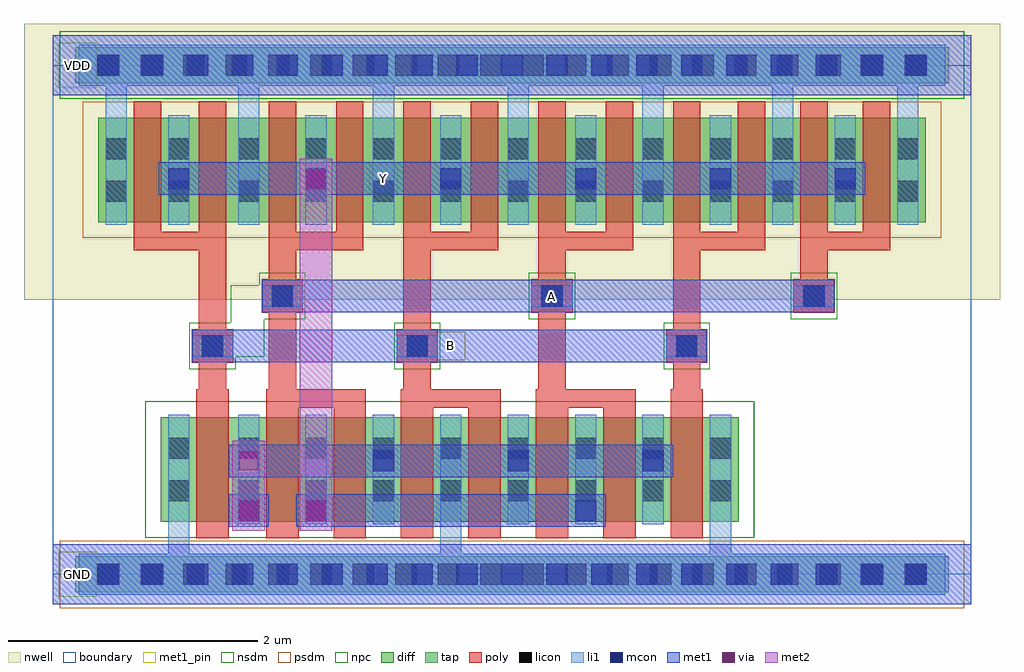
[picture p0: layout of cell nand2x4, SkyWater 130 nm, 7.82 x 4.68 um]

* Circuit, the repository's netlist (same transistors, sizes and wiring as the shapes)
** sch_path: /foss/designs/nand2x4.sch
.subckt nand2x4 A B VDD GND Y
*.PININFO A:I B:I VDD:B GND:B Y:O
XM2 Y A net1 GND sky130_fd_pr__nfet_01v8 L=0.26 W=3.36 nf=4
XM3 Y A VDD VDD sky130_fd_pr__pfet_01v8 L=0.22 W=5.04 nf=6
XM4 Y B VDD VDD sky130_fd_pr__pfet_01v8 L=0.22 W=5.04 nf=6
XM1 net1 B GND GND sky130_fd_pr__nfet_01v8 L=0.26 W=3.36 nf=4
.ends

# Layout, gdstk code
import gdstk
lib = gdstk.Library(unit=1e-6, precision=1e-09)
def R(c, l, rs):  # rectangles x0, y0, x1, y1
    for r in rs: c.add(gdstk.rectangle(r[:2], r[2:], *l))
def A(c, l, x, y, w, h, nx, ny, dx, dy):  # array of equal rectangles
    R(c, l, [(x+i*dx, y+j*dy, x+i*dx+w, y+j*dy+h) for i in range(nx) for j in range(ny)])
nwell = (64, 20)
diff = (65, 20)
tap = (65, 44)
poly = (66, 20)
licon = (66, 44)
li1 = (67, 20)
mcon = (67, 44)
met1_pin = (68, 16)
met1 = (68, 20)
via = (68, 44)
met2 = (69, 20)
nsdm = (93, 44)
psdm = (94, 20)
npc = (95, 20)
boundary = (235, 4)

nand2x4 = lib.new_cell('nand2x4')
R(nand2x4, nwell, [(-0.23,2.2,7.59,4.41)])
R(nand2x4, diff, [(0.865,0.42,5.495,1.26), (0.365,2.82,6.995,3.66)])
R(nand2x4, tap, [(0.18,-0.145,7.18,0.145), (0.18,3.935,7.18,4.225)])
A(nand2x4, poly, 1.71, 0.29, 0.26, 1.045, 6, 1, 0.54, 0)
A(nand2x4, poly, 1.71, 1.335, 0.8, 0.15, 3, 1, 1.08, 0)
A(nand2x4, poly, 1.73, 2.595, 0.76, 0.15, 3, 1, 1.08, 0)
A(nand2x4, poly, 1.73, 2.745, 0.22, 1.045, 7, 1, 0.54, 0)
A(nand2x4, poly, 5.49, 2.745, 0.22, 1.045, 3, 1, 0.5, 0)
R(nand2x4, poly, [(1.15,0.29,1.41,1.485), (4.95,0.29,5.21,1.485), (1.17,1.485,1.39,1.695), (1.73,1.485,1.95,2.095), (2.81,1.485,3.03,1.695), (3.89,1.485,4.11,2.095), (4.97,1.485,5.19,1.695), (1.115,1.695,1.445,1.965), (2.755,1.695,3.085,1.965), (4.915,1.695,5.245,1.965), (1.17,1.965,1.39,2.595), (2.81,1.965,3.03,2.595), (4.97,1.965,5.19,2.595), (1.675,2.095,2.005,2.365), (3.835,2.095,4.165,2.365), (5.935,2.095,6.265,2.365), (1.73,2.365,1.95,2.595), (3.89,2.365,4.11,2.595), (5.99,2.365,6.21,2.595), (0.65,2.595,1.39,2.745), (4.97,2.595,5.71,2.745), (5.99,2.595,6.71,2.745), (0.65,2.745,0.87,3.79), (1.17,2.745,1.39,3.79)])
A(nand2x4, licon, 0.365, -0.085, 0.17, 0.17, 20, 2, 0.34, 4.08)
A(nand2x4, licon, 1.485, 0.585, 0.17, 0.17, 8, 2, 0.54, 0.34)
A(nand2x4, licon, 1.485, 2.985, 0.17, 0.17, 8, 2, 0.54, 0.34)
A(nand2x4, licon, 5.765, 2.985, 0.17, 0.17, 3, 2, 0.5, 0.34)
R(nand2x4, licon, [(0.925,0.585,1.095,0.755), (0.925,0.925,1.095,1.095), (1.195,1.745,1.365,1.915), (2.835,1.745,3.005,1.915), (4.995,1.745,5.165,1.915), (1.755,2.145,1.925,2.315), (3.915,2.145,4.085,2.315), (6.015,2.145,6.185,2.315), (0.425,2.985,0.595,3.155), (0.925,2.985,1.095,3.155), (0.425,3.325,0.595,3.495), (0.925,3.325,1.095,3.495)])
A(nand2x4, li1, 1.485, 0.4, 0.17, 0.88, 3, 1, 0.54, 0)
A(nand2x4, li1, 3.645, 0.4, 0.17, 0.88, 3, 1, 0.54, 0)
A(nand2x4, li1, 1.485, 2.8, 0.17, 1.115, 4, 1, 1.08, 0)
A(nand2x4, li1, 2.025, 2.8, 0.17, 0.88, 4, 1, 1.08, 0)
R(nand2x4, li1, [(0.21,-0.165,7.15,0.165), (0.925,0.165,1.095,1.28), (3.105,0.165,3.275,1.28), (5.265,0.165,5.435,1.28), (1.115,1.745,1.445,1.915), (2.755,1.745,3.085,1.915), (4.915,1.745,5.245,1.915), (1.675,2.145,2.005,2.315), (3.835,2.145,4.165,2.315), (5.935,2.145,6.265,2.315), (0.425,2.8,0.595,3.915), (0.925,2.8,1.095,3.68), (5.765,2.8,5.935,3.915), (6.265,2.8,6.435,3.68), (6.765,2.8,6.935,3.915), (0.21,3.915,7.15,4.245)])
A(nand2x4, mcon, 0.355, -0.085, 0.17, 0.17, 19, 2, 0.36, 4.08)
A(nand2x4, mcon, 2.565, 0.825, 0.17, 0.17, 3, 1, 1.08, 0)
A(nand2x4, mcon, 2.025, 3.085, 0.17, 0.17, 4, 1, 1.08, 0)
R(nand2x4, mcon, [(1.485,0.425,1.655,0.595), (2.025,0.425,2.195,0.595), (4.185,0.425,4.355,0.595), (1.195,1.745,1.365,1.915), (2.835,1.745,3.005,1.915), (4.995,1.745,5.165,1.915), (1.755,2.145,1.925,2.315), (3.915,2.145,4.085,2.315), (6.015,2.145,6.185,2.315), (0.925,3.085,1.095,3.255), (6.265,3.085,6.435,3.255)])
R(nand2x4, met1_pin, [(0.05,-0.18,0.35,0.18), (3.075,1.715,3.305,1.945), (3.885,2.115,4.115,2.345), (2.535,3.055,2.765,3.285), (0.05,3.9,0.35,4.26)])
R(nand2x4, met1, [(0,-0.24,7.36,0.24), (1.41,0.38,1.73,0.64), (1.95,0.38,4.43,0.64), (1.41,0.78,4.97,1.04), (1.12,1.7,5.24,1.96), (1.68,2.1,6.26,2.36), (0.85,3.04,6.51,3.3), (0,3.84,7.36,4.32)])
R(nand2x4, via, [(1.495,0.435,1.645,0.585), (2.035,0.435,2.185,0.585), (1.495,0.835,1.645,0.985), (2.035,3.095,2.185,3.245)])
R(nand2x4, met2, [(1.44,0.35,1.7,1.07), (1.98,0.35,2.24,3.33)])
R(nand2x4, nsdm, [(0.74,0.295,5.62,1.385), (0.055,3.81,7.305,4.35)])
R(nand2x4, psdm, [(0.055,-0.27,7.305,0.27), (0.24,2.695,7.12,3.785)])
R(nand2x4, npc, [(1.095,1.645,1.465,1.745), (2.735,1.645,3.105,2.015), (4.895,1.645,5.265,2.015), (1.095,1.745,1.695,2.015), (1.425,2.015,1.695,2.045), (1.425,2.045,2.025,2.315), (3.815,2.045,4.185,2.415), (5.915,2.045,6.285,2.415), (1.655,2.315,2.025,2.415)])
R(nand2x4, boundary, [(0,0,7.36,4.08)])
nand2x4.add(gdstk.Label('A', (4,2.23), layer=68, texttype=5))
nand2x4.add(gdstk.Label('B', (3.19,1.83), layer=68, texttype=5))
nand2x4.add(gdstk.Label('VDD', (0.2,4.08), layer=68, texttype=5))
nand2x4.add(gdstk.Label('GND', (0.2,0), layer=68, texttype=5))
nand2x4.add(gdstk.Label('Y', (2.65,3.17), layer=68, texttype=5))

lib.write_gds('nand2x4.gds')
